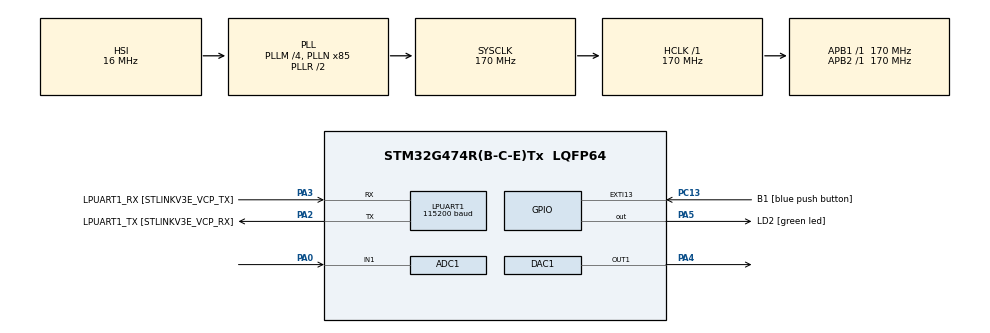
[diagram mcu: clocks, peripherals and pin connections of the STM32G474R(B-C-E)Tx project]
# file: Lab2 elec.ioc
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ADC1.Channel-0\#ChannelRegularConversion=ADC_CHANNEL_1
ADC1.NbrOfConversionFlag=1
ADC1.OffsetNumber-0\#ChannelRegularConversion=ADC_OFFSET_NONE
ADC1.Rank-0\#ChannelRegularConversion=1
ADC1.Resolution=ADC_RESOLUTION_10B
ADC1.SamplingTime-0\#ChannelRegularConversion=ADC_SAMPLETIME_2CYCLES_5
ADC1.master=1
LPUART1.BaudRate=115200
LPUART1.WordLength=UART_WORDLENGTH_8B
Mcu.Family=STM32G4
Mcu.Name=STM32G474R(B-C-E)Tx
Mcu.Package=LQFP64
NVIC.EXTI15_10_IRQn=true\:0\:0\:false\:false\:true\:true\:true\:true
NVIC.PriorityGroup=NVIC_PRIORITYGROUP_4
PA0.Mode=IN1-Single-Ended
PA0.Signal=ADC1_IN1
PA13.GPIO_Label=T_SWDIO
PA13.Mode=Serial_Wire
PA13.Signal=SYS_JTMS-SWDIO
PA14.GPIO_Label=T_SWCLK
PA14.Mode=Serial_Wire
PA14.Signal=SYS_JTCK-SWCLK
PA2.GPIO_Label=LPUART1_TX [STLINKV3E_VCP_RX]
PA2.Mode=Asynchronous
PA2.Signal=LPUART1_TX
PA3.GPIO_Label=LPUART1_RX [STLINKV3E_VCP_TX]
PA3.Mode=Asynchronous
PA3.Signal=LPUART1_RX
PA4.Signal=COMP_DAC11_group
PA5.GPIO_Label=LD2 [green led]
PA5.Signal=GPIO_Output
PB3.GPIO_Label=T_SWO
PB3.Signal=SYS_JTDO-SWO
PC13.GPIO_Label=B1 [blue push button]
PC13.Signal=GPXTI13
PC14-OSC32_IN.Mode=LSE-External-Oscillator
PC14-OSC32_IN.Signal=RCC_OSC32_IN
PC15-OSC32_OUT.Mode=LSE-External-Oscillator
PC15-OSC32_OUT.Signal=RCC_OSC32_OUT
PF0-OSC_IN.Mode=HSE-External-Oscillator
PF0-OSC_IN.Signal=RCC_OSC_IN
PF1-OSC_OUT.Mode=HSE-External-Oscillator
PF1-OSC_OUT.Signal=RCC_OSC_OUT
ProjectManager.HeapSize=0x200
ProjectManager.StackSize=0x400
ProjectManager.TargetToolchain=STM32CubeIDE
RCC.ADC12Freq_Value=170000000
RCC.ADC345Freq_Value=170000000
RCC.AHBFreq_Value=170000000
RCC.APB1Freq_Value=170000000
RCC.APB1TimFreq_Value=170000000
RCC.APB2Freq_Value=170000000
RCC.APB2TimFreq_Value=170000000
RCC.CortexFreq_Value=170000000
RCC.EXTERNAL_CLOCK_VALUE=12288000
RCC.HCLKFreq_Value=170000000
RCC.HSE_VALUE=24000000
RCC.HSI48_VALUE=48000000
RCC.HSI_VALUE=16000000
RCC.PLLM=RCC_PLLM_DIV4
RCC.PLLN=85
RCC.RTCClockSelection=RCC_RTCCLKSOURCE_LSE
RCC.SYSCLKFreq_VALUE=170000000
RCC.SYSCLKSource=RCC_SYSCLKSOURCE_PLLCLK
RCC.USBFreq_Value=170000000
RCC.VCOOutputFreq_Value=340000000
SH.COMP_DAC11_group.0=DAC1_OUT1,DAC_OUT1
VP_SYS_VS_DBSignals.Mode=DisableDeadBatterySignals
board=NUCLEO-G474RE

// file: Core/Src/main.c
/* USER CODE BEGIN Header */
/**
 ******************************************************************************
 * @file           : main.c
 * @brief          : Main program body
 ******************************************************************************
 * @attention
 *
 * Copyright (c) 2023 STMicroelectronics.
 * All rights reserved.
 *
 * This software is licensed under terms that can be found in the LICENSE file
 * in the root directory of this software component.
 * If no LICENSE file comes with this software, it is provided AS-IS.
 *
 ******************************************************************************
 */
/* USER CODE END Header */
#include "main.h"

ADC_HandleTypeDef hadc1;

DAC_HandleTypeDef hdac1;

UART_HandleTypeDef hlpuart1;

/* USER CODE BEGIN PV */
float mv = 0;
float Vout = 0;
float VoutBF = 0;
uint16_t DAC_OutputBF = 0;
struct _ADC_tag {
	ADC_ChannelConfTypeDef Config;
	uint16_t data;
};
struct _ADC_tag ADC1_Channel[1] = { { .Config.Channel = ADC_CHANNEL_1,
		.Config.Rank = ADC_REGULAR_RANK_1, .Config.SamplingTime =
		ADC_SAMPLETIME_640CYCLES_5, .Config.SingleDiff =
		ADC_SINGLE_ENDED, .Config.OffsetNumber = ADC_OFFSET_NONE,
		.Config.Offset = 0, .data = 0, } };
uint16_t DAC_Output = 0;
/* USER CODE END PV */

void SystemClock_Config(void);
static void MX_GPIO_Init(void);
static void MX_LPUART1_UART_Init(void);
static void MX_ADC1_Init(void);
static void MX_DAC1_Init(void);
/* USER CODE BEGIN PFP */
void ADC_Read_blocking();
void DAC_Update();
/* USER CODE END PFP */

int main(void) {

	/* MCU Configuration--------------------------------------------------------*/

	/* Reset of all peripherals, Initializes the Flash interface and the Systick. */
	HAL_Init();

	/* Configure the system clock */
	SystemClock_Config();

	/* Initialize all configured peripherals */
	MX_GPIO_Init();
	MX_LPUART1_UART_Init();
	MX_ADC1_Init();
	MX_DAC1_Init();
	/* USER CODE BEGIN 2 */
	HAL_ADCEx_Calibration_Start(&hadc1, ADC_SINGLE_ENDED);
	HAL_DAC_SetValue(&hdac1, DAC_CHANNEL_1, DAC_ALIGN_12B_R, 2048);
	HAL_DAC_Start(&hdac1, DAC_CHANNEL_1);
	/* USER CODE END 2 */

	/* Infinite loop */
	while (1) {

		/* USER CODE BEGIN 3 */
		ADC_Read_blocking();
		DAC_Update();
	}
	/* USER CODE END 3 */
}

void SystemClock_Config(void) {
	RCC_OscInitTypeDef RCC_OscInitStruct = { 0 };
	RCC_ClkInitTypeDef RCC_ClkInitStruct = { 0 };

	/** Configure the main internal regulator output voltage
	 */
	HAL_PWREx_ControlVoltageScaling(PWR_REGULATOR_VOLTAGE_SCALE1_BOOST);

	/** Initializes the RCC Oscillators according to the specified parameters
	 * in the RCC_OscInitTypeDef structure.
	 */
	RCC_OscInitStruct.OscillatorType = RCC_OSCILLATORTYPE_HSI;
	RCC_OscInitStruct.HSIState = RCC_HSI_ON;
	RCC_OscInitStruct.HSICalibrationValue = RCC_HSICALIBRATION_DEFAULT;
	RCC_OscInitStruct.PLL.PLLState = RCC_PLL_ON;
	RCC_OscInitStruct.PLL.PLLSource = RCC_PLLSOURCE_HSI;
	RCC_OscInitStruct.PLL.PLLM = RCC_PLLM_DIV4;
	RCC_OscInitStruct.PLL.PLLN = 85;
	RCC_OscInitStruct.PLL.PLLP = RCC_PLLP_DIV2;
	RCC_OscInitStruct.PLL.PLLQ = RCC_PLLQ_DIV2;
	RCC_OscInitStruct.PLL.PLLR = RCC_PLLR_DIV2;
	if (HAL_RCC_OscConfig(&RCC_OscInitStruct) != HAL_OK) {
		Error_Handler();
	}

	/** Initializes the CPU, AHB and APB buses clocks
	 */
	RCC_ClkInitStruct.ClockType = RCC_CLOCKTYPE_HCLK | RCC_CLOCKTYPE_SYSCLK
			| RCC_CLOCKTYPE_PCLK1 | RCC_CLOCKTYPE_PCLK2;
	RCC_ClkInitStruct.SYSCLKSource = RCC_SYSCLKSOURCE_PLLCLK;
	RCC_ClkInitStruct.AHBCLKDivider = RCC_SYSCLK_DIV1;
	RCC_ClkInitStruct.APB1CLKDivider = RCC_HCLK_DIV1;
	RCC_ClkInitStruct.APB2CLKDivider = RCC_HCLK_DIV1;

	if (HAL_RCC_ClockConfig(&RCC_ClkInitStruct, FLASH_LATENCY_4) != HAL_OK) {
		Error_Handler();
	}
}

static void MX_ADC1_Init(void) {

	ADC_MultiModeTypeDef multimode = { 0 };
	ADC_ChannelConfTypeDef sConfig = { 0 };

	/** Common config
	 */
	hadc1.Instance = ADC1;
	hadc1.Init.ClockPrescaler = ADC_CLOCK_SYNC_PCLK_DIV4;
	hadc1.Init.Resolution = ADC_RESOLUTION_10B;
	hadc1.Init.DataAlign = ADC_DATAALIGN_RIGHT;
	hadc1.Init.GainCompensation = 0;
	hadc1.Init.ScanConvMode = ADC_SCAN_DISABLE;
	hadc1.Init.EOCSelection = ADC_EOC_SINGLE_CONV;
	hadc1.Init.LowPowerAutoWait = DISABLE;
	hadc1.Init.ContinuousConvMode = DISABLE;
	hadc1.Init.NbrOfConversion = 1;
	hadc1.Init.DiscontinuousConvMode = DISABLE;
	hadc1.Init.ExternalTrigConv = ADC_SOFTWARE_START;
	hadc1.Init.ExternalTrigConvEdge = ADC_EXTERNALTRIGCONVEDGE_NONE;
	hadc1.Init.DMAContinuousRequests = DISABLE;
	hadc1.Init.Overrun = ADC_OVR_DATA_PRESERVED;
	hadc1.Init.OversamplingMode = DISABLE;
	if (HAL_ADC_Init(&hadc1) != HAL_OK) {
		Error_Handler();
	}

	/** Configure the ADC multi-mode
	 */
	multimode.Mode = ADC_MODE_INDEPENDENT;
	if (HAL_ADCEx_MultiModeConfigChannel(&hadc1, &multimode) != HAL_OK) {
		Error_Handler();
	}

	/** Configure Regular Channel
	 */
	sConfig.Channel = ADC_CHANNEL_1;
	sConfig.Rank = ADC_REGULAR_RANK_1;
	sConfig.SamplingTime = ADC_SAMPLETIME_2CYCLES_5;
	sConfig.SingleDiff = ADC_SINGLE_ENDED;
	sConfig.OffsetNumber = ADC_OFFSET_NONE;
	sConfig.Offset = 0;
	if (HAL_ADC_ConfigChannel(&hadc1, &sConfig) != HAL_OK) {
		Error_Handler();
	}

}

static void MX_DAC1_Init(void) {

	DAC_ChannelConfTypeDef sConfig = { 0 };

	/** DAC Initialization
	 */
	hdac1.Instance = DAC1;
	if (HAL_DAC_Init(&hdac1) != HAL_OK) {
		Error_Handler();
	}

	/** DAC channel OUT1 config
	 */
	sConfig.DAC_HighFrequency = DAC_HIGH_FREQUENCY_INTERFACE_MODE_AUTOMATIC;
	sConfig.DAC_DMADoubleDataMode = DISABLE;
	sConfig.DAC_SignedFormat = DISABLE;
	sConfig.DAC_SampleAndHold = DAC_SAMPLEANDHOLD_DISABLE;
	sConfig.DAC_Trigger = DAC_TRIGGER_NONE;
	sConfig.DAC_Trigger2 = DAC_TRIGGER_NONE;
	sConfig.DAC_OutputBuffer = DAC_OUTPUTBUFFER_ENABLE;
	sConfig.DAC_ConnectOnChipPeripheral = DAC_CHIPCONNECT_EXTERNAL;
	sConfig.DAC_UserTrimming = DAC_TRIMMING_FACTORY;
	if (HAL_DAC_ConfigChannel(&hdac1, &sConfig, DAC_CHANNEL_1) != HAL_OK) {
		Error_Handler();
	}

}

static void MX_LPUART1_UART_Init(void) {

	hlpuart1.Instance = LPUART1;
	hlpuart1.Init.BaudRate = 115200;
	hlpuart1.Init.WordLength = UART_WORDLENGTH_8B;
	hlpuart1.Init.StopBits = UART_STOPBITS_1;
	hlpuart1.Init.Parity = UART_PARITY_NONE;
	hlpuart1.Init.Mode = UART_MODE_TX_RX;
	hlpuart1.Init.HwFlowCtl = UART_HWCONTROL_NONE;
	hlpuart1.Init.OneBitSampling = UART_ONE_BIT_SAMPLE_DISABLE;
	hlpuart1.Init.ClockPrescaler = UART_PRESCALER_DIV1;
	hlpuart1.AdvancedInit.AdvFeatureInit = UART_ADVFEATURE_NO_INIT;
	if (HAL_UART_Init(&hlpuart1) != HAL_OK) {
		Error_Handler();
	}
	if (HAL_UARTEx_SetTxFifoThreshold(&hlpuart1, UART_TXFIFO_THRESHOLD_1_8)
			!= HAL_OK) {
		Error_Handler();
	}
	if (HAL_UARTEx_SetRxFifoThreshold(&hlpuart1, UART_RXFIFO_THRESHOLD_1_8)
			!= HAL_OK) {
		Error_Handler();
	}
	if (HAL_UARTEx_DisableFifoMode(&hlpuart1) != HAL_OK) {
		Error_Handler();
	}

}

static void MX_GPIO_Init(void) {
	GPIO_InitTypeDef GPIO_InitStruct = { 0 };

	/* GPIO Ports Clock Enable */
	__HAL_RCC_GPIOC_CLK_ENABLE();
	__HAL_RCC_GPIOF_CLK_ENABLE();
	__HAL_RCC_GPIOA_CLK_ENABLE();
	__HAL_RCC_GPIOB_CLK_ENABLE();

	/*Configure GPIO pin Output Level */
	HAL_GPIO_WritePin(LD2_GPIO_Port, LD2_Pin, GPIO_PIN_RESET);

	/*Configure GPIO pin : B1_Pin */
	GPIO_InitStruct.Pin = B1_Pin;
	GPIO_InitStruct.Mode = GPIO_MODE_IT_RISING;
	GPIO_InitStruct.Pull = GPIO_NOPULL;
	HAL_GPIO_Init(B1_GPIO_Port, &GPIO_InitStruct);

	/*Configure GPIO pin : LD2_Pin */
	GPIO_InitStruct.Pin = LD2_Pin;
	GPIO_InitStruct.Mode = GPIO_MODE_OUTPUT_PP;
	GPIO_InitStruct.Pull = GPIO_NOPULL;
	GPIO_InitStruct.Speed = GPIO_SPEED_FREQ_LOW;
	HAL_GPIO_Init(LD2_GPIO_Port, &GPIO_InitStruct);

	/* EXTI interrupt init*/
	HAL_NVIC_SetPriority(EXTI15_10_IRQn, 0, 0);
	HAL_NVIC_EnableIRQ(EXTI15_10_IRQn);

}

/* USER CODE BEGIN 4 */
void ADC_Read_blocking() {
	static uint32_t TimeStamp = 0;
	if (HAL_GetTick() < TimeStamp)
		return;
	TimeStamp = HAL_GetTick() + 500;

	HAL_ADC_ConfigChannel(&hadc1, &ADC1_Channel[0].Config);
	HAL_ADC_Start(&hadc1);
	HAL_ADC_PollForConversion(&hadc1, 100);
	ADC1_Channel[0].data = HAL_ADC_GetValue(&hadc1);
	HAL_ADC_Stop(&hadc1);
	mv = (ADC1_Channel[0].data) * 3300.0 / 1023;
}
void DAC_Update() {
	static uint32_t timeStamp = 0;
	if (HAL_GetTick() > timeStamp) {
		timeStamp = HAL_GetTick() + 750;
		if (DAC_Output != DAC_OutputBF) {
			Vout = DAC_Output * 3300 / 4095;
		}
		if (Vout != VoutBF) {
			DAC_Output = Vout * 4095 / 3300;
		}

		HAL_DAC_SetValue(&hdac1, DAC_CHANNEL_1, DAC_ALIGN_12B_R, DAC_Output);
		DAC_OutputBF = DAC_Output;
		VoutBF = Vout;
	}

}
void HAL_GPIO_EXTI_Callback(uint16_t GPIO_Pin) {
	if (GPIO_Pin == GPIO_PIN_13) {
		Vout = mv;
	}
}
/* USER CODE END 4 */

void Error_Handler(void) {
	__disable_irq();
	while (1) {
	}
}
